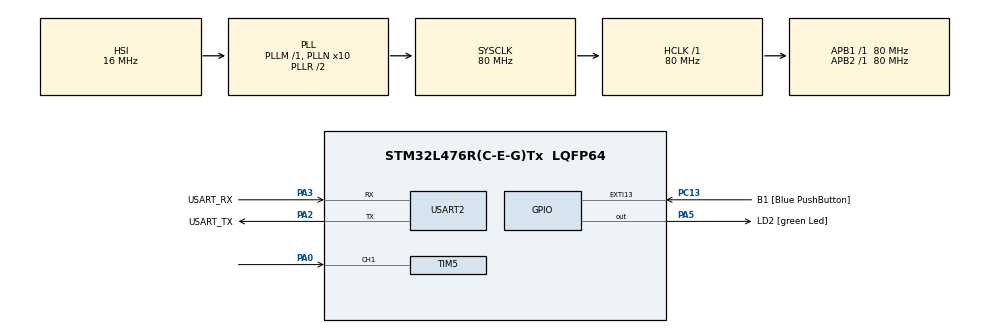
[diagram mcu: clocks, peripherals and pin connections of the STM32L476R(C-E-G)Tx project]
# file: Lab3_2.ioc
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Mcu.Family=STM32L4
Mcu.Name=STM32L476R(C-E-G)Tx
Mcu.Package=LQFP64
Mcu.UserConstants=TIM5_PRESCALER,7999;TIM5_PERIOD,9999999
NVIC.PriorityGroup=NVIC_PRIORITYGROUP_4
NVIC.TIM5_IRQn=true\:0\:0\:false\:false\:true\:true\:true
PA0.GPIO_PuPd=GPIO_PULLUP
PA0.Signal=S_TIM5_CH1
PA13\ (JTMS-SWDIO).GPIO_Label=TMS
PA13\ (JTMS-SWDIO).Mode=Serial_Wire
PA13\ (JTMS-SWDIO).Signal=SYS_JTMS-SWDIO
PA14\ (JTCK-SWCLK).GPIO_Label=TCK
PA14\ (JTCK-SWCLK).Mode=Serial_Wire
PA14\ (JTCK-SWCLK).Signal=SYS_JTCK-SWCLK
PA2.GPIO_Label=USART_TX
PA2.GPIO_Mode=GPIO_MODE_AF_PP
PA2.GPIO_PuPd=GPIO_NOPULL
PA2.GPIO_Speed=GPIO_SPEED_FREQ_VERY_HIGH
PA2.Mode=Asynchronous
PA2.Signal=USART2_TX
PA3.GPIO_Label=USART_RX
PA3.GPIO_Mode=GPIO_MODE_AF_PP
PA3.GPIO_PuPd=GPIO_NOPULL
PA3.GPIO_Speed=GPIO_SPEED_FREQ_VERY_HIGH
PA3.Mode=Asynchronous
PA3.Signal=USART2_RX
PA5.GPIO_Label=LD2 [green Led]
PA5.GPIO_ModeDefaultOutputPP=GPIO_MODE_OUTPUT_PP
PA5.GPIO_PuPd=GPIO_NOPULL
PA5.GPIO_Speed=GPIO_SPEED_FREQ_LOW
PA5.Signal=GPIO_Output
PB3\ (JTDO-TRACESWO).GPIO_Label=SWO
PB3\ (JTDO-TRACESWO).Signal=SYS_JTDO-SWO
PC13.GPIO_Label=B1 [Blue PushButton]
PC13.GPIO_ModeDefaultEXTI=GPIO_MODE_IT_FALLING
PC13.GPIO_PuPd=GPIO_NOPULL
PC13.Signal=GPXTI13
PC14-OSC32_IN\ (PC14).Mode=LSE-External-Oscillator
PC14-OSC32_IN\ (PC14).Signal=RCC_OSC32_IN
PC15-OSC32_OUT\ (PC15).Mode=LSE-External-Oscillator
PC15-OSC32_OUT\ (PC15).Signal=RCC_OSC32_OUT
PH0-OSC_IN\ (PH0).Signal=RCC_OSC_IN
PH1-OSC_OUT\ (PH1).Signal=RCC_OSC_OUT
ProjectManager.HeapSize=0x200
ProjectManager.StackSize=0x400
ProjectManager.TargetToolchain=STM32CubeIDE
RCC.ADCFreq_Value=64000000
RCC.AHBFreq_Value=80000000
RCC.APB1Freq_Value=80000000
RCC.APB1TimFreq_Value=80000000
RCC.APB2Freq_Value=80000000
RCC.APB2TimFreq_Value=80000000
RCC.CortexFreq_Value=80000000
RCC.HCLKFreq_Value=80000000
RCC.HSE_VALUE=8000000
RCC.HSI_VALUE=16000000
RCC.MSI_VALUE=4000000
RCC.PLLN=10
RCC.PLLSourceVirtual=RCC_PLLSOURCE_HSI
RCC.PREFETCH_ENABLE=1
RCC.SYSCLKFreq_VALUE=80000000
RCC.SYSCLKSource=RCC_SYSCLKSOURCE_PLLCLK
RCC.USBFreq_Value=64000000
RCC.VCOOutputFreq_Value=160000000
SH.S_TIM5_CH1.0=TIM5_CH1,Input_Capture1_from_TI1
TIM5.AutoReloadPreload=TIM_AUTORELOAD_PRELOAD_ENABLE
TIM5.Channel-Input_Capture1_from_TI1=TIM_CHANNEL_1
TIM5.ICPolarity_CH1=TIM_INPUTCHANNELPOLARITY_FALLING
TIM5.Period=TIM5_PERIOD
TIM5.Prescaler=TIM5_PRESCALER
USART2.VirtualMode-Asynchronous=VM_ASYNC
board=NUCLEO-L476RG

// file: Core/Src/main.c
/* USER CODE BEGIN Header */
/**
  ******************************************************************************
  * @file           : main.c
  * @brief          : Main program body
  ******************************************************************************
  * @attention
  *
  * <h2><center>&copy; Copyright (c) 2022 STMicroelectronics.
  * All rights reserved.</center></h2>
  *
  * This software component is licensed by ST under BSD 3-Clause license,
  * the "License"; You may not use this file except in compliance with the
  * License. You may obtain a copy of the License at:
  *                        opensource.org/licenses/BSD-3-Clause
  *
  ******************************************************************************
  */
/* USER CODE END Header */
#include "main.h"
#include "tim.h"
#include "usart.h"
#include "gpio.h"

/* USER CODE BEGIN Includes */
#include <stdio.h>
/* USER CODE END Includes */

/* USER CODE BEGIN PV */
volatile int flag;
volatile int period;

/* USER CODE END PV */

void SystemClock_Config(void);
void HAL_TIM_IC_CaptureCallback(TIM_HandleTypeDef *htim);

int main(void)
{

  /* MCU Configuration--------------------------------------------------------*/

  /* Reset of all peripherals, Initializes the Flash interface and the Systick. */
  HAL_Init();

  /* Configure the system clock */
  SystemClock_Config();

  /* Initialize all configured peripherals */
  MX_GPIO_Init();
  MX_USART2_UART_Init();
  MX_TIM5_Init();
  /* USER CODE BEGIN 2 */

  flag = 0;
  HAL_TIM_IC_Start_IT(&htim5, TIM_CHANNEL_1);

  /* USER CODE END 2 */

  /* Infinite loop */
  /* USER CODE BEGIN WHILE */
  while (1)
  {

	  if(flag == 1){

		  HAL_GPIO_TogglePin(LD2_GPIO_Port, LD2_Pin);
		  printf("Wykryto zobocze po %d sekundach\r\n", period/10000);

		  flag = 0;
		  period = 0;

	  }

	  HAL_Delay(10);

    /* USER CODE END WHILE */

  }
}

void SystemClock_Config(void)
{
  RCC_OscInitTypeDef RCC_OscInitStruct = {0};
  RCC_ClkInitTypeDef RCC_ClkInitStruct = {0};
  RCC_PeriphCLKInitTypeDef PeriphClkInit = {0};

  /** Initializes the RCC Oscillators according to the specified parameters
  * in the RCC_OscInitTypeDef structure.
  */
  RCC_OscInitStruct.OscillatorType = RCC_OSCILLATORTYPE_HSI;
  RCC_OscInitStruct.HSIState = RCC_HSI_ON;
  RCC_OscInitStruct.HSICalibrationValue = RCC_HSICALIBRATION_DEFAULT;
  RCC_OscInitStruct.PLL.PLLState = RCC_PLL_ON;
  RCC_OscInitStruct.PLL.PLLSource = RCC_PLLSOURCE_HSI;
  RCC_OscInitStruct.PLL.PLLM = 1;
  RCC_OscInitStruct.PLL.PLLN = 10;
  RCC_OscInitStruct.PLL.PLLP = RCC_PLLP_DIV7;
  RCC_OscInitStruct.PLL.PLLQ = RCC_PLLQ_DIV2;
  RCC_OscInitStruct.PLL.PLLR = RCC_PLLR_DIV2;
  if (HAL_RCC_OscConfig(&RCC_OscInitStruct) != HAL_OK)
  {
    Error_Handler();
  }
  /** Initializes the CPU, AHB and APB buses clocks
  */
  RCC_ClkInitStruct.ClockType = RCC_CLOCKTYPE_HCLK|RCC_CLOCKTYPE_SYSCLK
                              |RCC_CLOCKTYPE_PCLK1|RCC_CLOCKTYPE_PCLK2;
  RCC_ClkInitStruct.SYSCLKSource = RCC_SYSCLKSOURCE_PLLCLK;
  RCC_ClkInitStruct.AHBCLKDivider = RCC_SYSCLK_DIV1;
  RCC_ClkInitStruct.APB1CLKDivider = RCC_HCLK_DIV1;
  RCC_ClkInitStruct.APB2CLKDivider = RCC_HCLK_DIV1;

  if (HAL_RCC_ClockConfig(&RCC_ClkInitStruct, FLASH_LATENCY_4) != HAL_OK)
  {
    Error_Handler();
  }
  PeriphClkInit.PeriphClockSelection = RCC_PERIPHCLK_USART2;
  PeriphClkInit.Usart2ClockSelection = RCC_USART2CLKSOURCE_PCLK1;
  if (HAL_RCCEx_PeriphCLKConfig(&PeriphClkInit) != HAL_OK)
  {
    Error_Handler();
  }
  /** Configure the main internal regulator output voltage
  */
  if (HAL_PWREx_ControlVoltageScaling(PWR_REGULATOR_VOLTAGE_SCALE1) != HAL_OK)
  {
    Error_Handler();
  }
}

/* USER CODE BEGIN 4 */

int _write(int file, char *ptr, int len){

	  if(HAL_UART_Transmit(&huart2, (uint8_t *) ptr, len, 100) != HAL_OK){
		  Error_Handler();
	  }

	return len;
}

void HAL_TIM_IC_CaptureCallback(TIM_HandleTypeDef *htim){

	if(htim == &htim5){
		if(htim -> Channel == HAL_TIM_ACTIVE_CHANNEL_1){
			period = __HAL_TIM_GET_COMPARE(&htim5, TIM_CHANNEL_1);

			__HAL_TIM_SET_COUNTER(&htim5,0);

			flag = 1;
		}
	}

}

/* USER CODE END 4 */

void Error_Handler(void)
{
}

/************************ (C) COPYRIGHT STMicroelectronics *****END OF FILE****/
